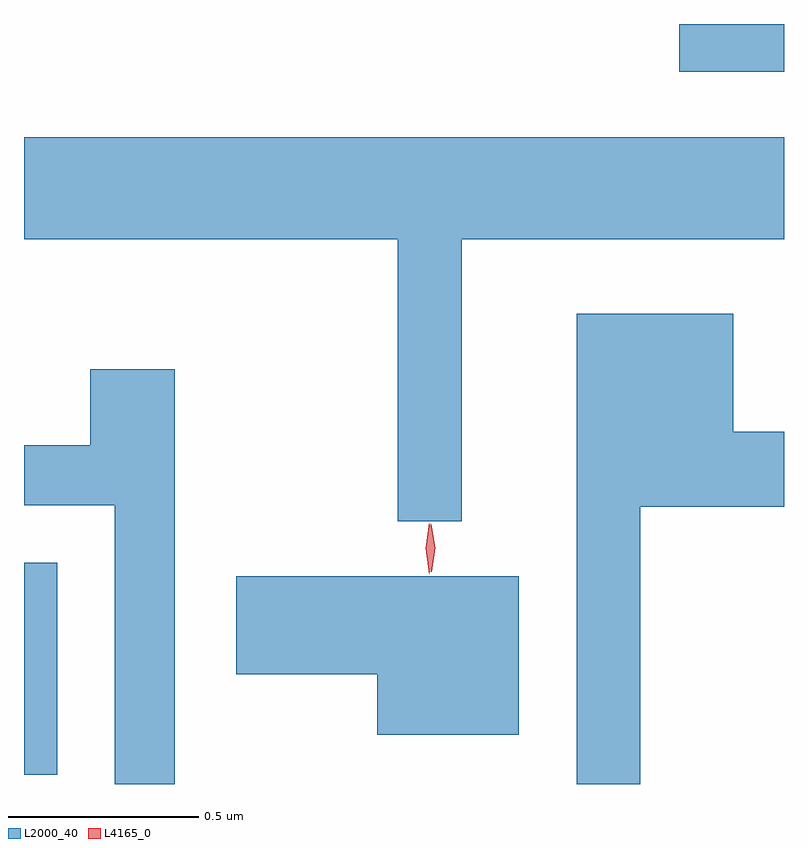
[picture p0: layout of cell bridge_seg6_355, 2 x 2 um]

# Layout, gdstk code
import gdstk
lib = gdstk.Library(unit=1e-6, precision=1e-09)
def R(c, l, rs):  # rectangles x0, y0, x1, y1
    for r in rs: c.add(gdstk.rectangle(r[:2], r[2:], *l))
def P(c, l, *ps):  # polygons
    for p in ps: c.add(gdstk.Polygon(p, *l))
L2000_40 = (2000, 40)
L4165_0 = (4165, 0)

bridge_seg6_355 = lib.new_cell('bridge_seg6_355')
R(bridge_seg6_355, L2000_40, [(1267.757,1530.866,1267.844,1531.424), (1269.481,1532.716,1269.757,1532.842)])
P(bridge_seg6_355, L2000_40, [(1268.909,1532.276),(1269.757,1532.276),(1269.757,1532.544),(1267.757,1532.544),(1267.757,1532.276),(1268.741,1532.276),(1268.741,1531.533),(1268.909,1531.533)],
  [(1269.379,1531.571),(1269.757,1531.571),(1269.757,1531.769),(1269.624,1531.769),(1269.624,1532.079),(1269.211,1532.079),(1269.211,1530.842),(1269.379,1530.842)],
  [(1268.154,1531.934),(1267.931,1531.934),(1267.931,1531.734),(1267.757,1531.734),(1267.757,1531.576),(1267.996,1531.576),(1267.996,1530.842),(1268.154,1530.842)],
  [(1269.059,1531.389),(1268.316,1531.389),(1268.316,1531.131),(1268.686,1531.131),(1268.686,1530.971),(1269.059,1530.971)])
P(bridge_seg6_355, L4165_0, [(1268.823,1531.394),(1268.814,1531.462),(1268.823,1531.53),(1268.823,1531.53),(1268.824,1531.53),(1268.833,1531.462),(1268.824,1531.394),(1268.824,1531.394)],
  [(1268.828,1531.4),(1268.819,1531.464),(1268.828,1531.526),(1268.828,1531.527),(1268.829,1531.526),(1268.839,1531.464),(1268.83,1531.4),(1268.829,1531.4)])

lib.write_gds('bridge_seg6_355.gds')
